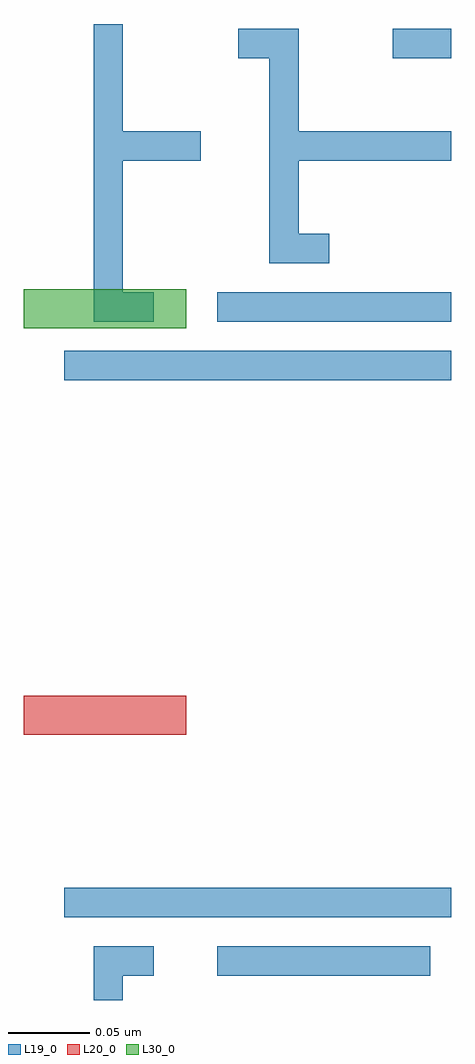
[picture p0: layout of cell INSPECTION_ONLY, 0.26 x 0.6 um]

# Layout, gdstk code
import gdstk
lib = gdstk.Library(unit=1e-6, precision=2.5e-10)
def R(c, l, rs):  # rectangles x0, y0, x1, y1
    for r in rs: c.add(gdstk.rectangle(r[:2], r[2:], *l))
def P(c, l, *ps):  # polygons
    for p in ps: c.add(gdstk.Polygon(p, *l))
L19_0 = (19, 0)
L20_0 = (20, 0)
L30_0 = (30, 0)

inspection_only = lib.new_cell('INSPECTION_ONLY')
R(inspection_only, L19_0, [(6.094,0.225,6.225,0.243), (6,0.261,6.238,0.279), (6,0.591,6.238,0.609), (6.094,0.627,6.238,0.645), (6.202,0.789,6.238,0.807)])
P(inspection_only, L19_0, [(6.018,0.21),(6.018,0.243),(6.055,0.243),(6.055,0.225),(6.036,0.225),(6.036,0.21)],
  [(6.126,0.663),(6.126,0.789),(6.107,0.789),(6.107,0.807),(6.144,0.807),(6.144,0.744),(6.238,0.744),(6.238,0.726),(6.144,0.726),(6.144,0.681),(6.163,0.681),(6.163,0.663)],
  [(6.018,0.627),(6.018,0.81),(6.036,0.81),(6.036,0.744),(6.084,0.744),(6.084,0.726),(6.036,0.726),(6.036,0.645),(6.055,0.645),(6.055,0.627)])
R(inspection_only, L20_0, [(5.975,0.373,6.075,0.397)])
R(inspection_only, L30_0, [(5.975,0.623,6.075,0.647)])

lib.write_gds('INSPECTION_ONLY.gds')
